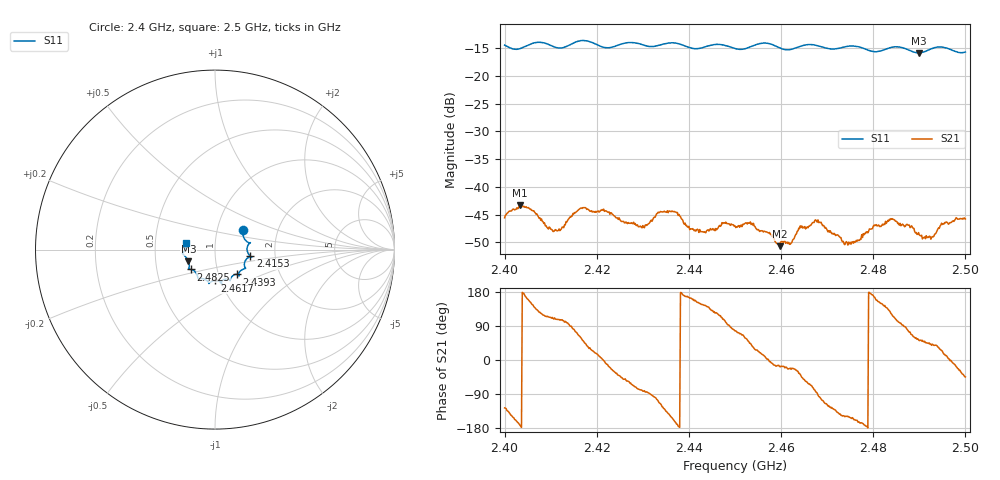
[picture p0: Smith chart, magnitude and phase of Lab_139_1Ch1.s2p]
# Hz S RI R 50
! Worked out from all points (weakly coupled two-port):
!   601 points, 2.4 GHz to 2.5 GHz, reference 50 ohm
!   highest |S21| = -43.31 dB at 2.4033 GHz (marker M1); lowest = -50.7 dB at 2.4597 GHz (marker M2)
!   lowest |S11| = -15.8 dB at 2.4898 GHz (marker M3), VSWR 1.39, Z = 36.8 - j4.86 ohm
!   |S11| at or under -10 dB: start of sweep to end of sweep
!   S12 and S22 are empty: the file has one direction only
!   S11 on the Smith chart (normalised r, x): 2.4 GHz: 1.33, +0.30; 2.4153 GHz: 1.49, -0.12; 2.4393 GHz: 1.22, -0.35; 2.4617 GHz: 0.94, -0.33; 2.4825 GHz: 0.75, -0.17; 2.5 GHz: 0.72, +0.05
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2.4e9  0.1555 0.1083  -0.00313 -0.00424  0 0  0 0
2.403333e9  0.1671 0.0555  -0.00676 -0.00097  0 0  0 0
2.411e9  0.1808 0.0168  -0.00128 0.00391  0 0  0 0
2.415333e9  0.1978 -0.0378  0.0015 0.00564  0 0  0 0
2.416667e9  0.2042 -0.042  0.00351 0.00541  0 0  0 0
2.429833e9  0.1579 -0.1087  0.000739 -0.00421  0 0  0 0
2.433333e9  0.1322 -0.1339  -0.00186 -0.00563  0 0  0 0
2.437e9  0.1343 -0.1458  -0.00569 -0.00171  0 0  0 0
2.439333e9  0.1228 -0.1381  -0.00438 0.000958  0 0  0 0
2.443167e9  0.089 -0.1575  -0.00321 0.00223  0 0  0 0
2.45e9  0.0662 -0.164  0.00102 0.00434  0 0  0 0
2.4535e9  0.0362 -0.1806  0.00344 0.00303  0 0  0 0
2.459667e9  0.0252 -0.1773  0.00279 -0.000853  0 0  0 0
2.461667e9  -6.96e-05 -0.1721  0.00291 -0.00123  0 0  0 0
2.466667e9  -0.0337 -0.1886  0.00172 -0.00433  0 0  0 0
2.474167e9  -0.0884 -0.1618  -0.00275 -0.00167  0 0  0 0
2.4825e9  -0.133 -0.1106  -0.0037 0.0027  0 0  0 0
2.483333e9  -0.1401 -0.1099  -0.00328 0.00365  0 0  0 0
2.489833e9  -0.1481 -0.0642  0.00232 0.0031  0 0  0 0
2.492667e9  -0.1734 -0.0305  0.00274 0.0022  0 0  0 0
2.495333e9  -0.1799 -0.0197  0.00446 0.00123  0 0  0 0
2.5e9  -0.1603 0.0362  0.00365 -0.00361  0 0  0 0
